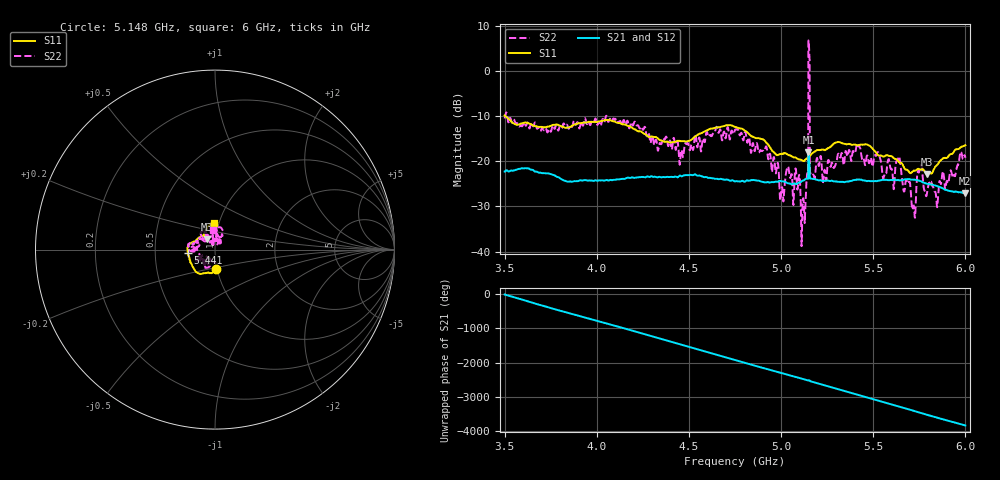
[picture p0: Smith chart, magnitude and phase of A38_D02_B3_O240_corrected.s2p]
! Created with skrf 1.9.0 (http://scikit-rf.org).
# Hz S RI R 50.0
!freq ReS11 ImS11 ReS21 ImS21 ReS12 ImS12 ReS22 ImS22
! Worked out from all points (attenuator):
!   1601 points, 3.5 GHz to 6 GHz, reference 50 ohm
!   highest |S21| = -18.04 dB at 5.148 GHz (marker M1); lowest = -27.1 dB at 5.998 GHz (marker M2)
!   lowest |S11| = -22.8 dB at 5.791 GHz (marker M3), VSWR 1.16, Z = 45.6 + j5.32 ohm
!   |S11| at or under -10 dB: 3.504 GHz to end of sweep
!   |S22| runs from -38.8 to 6.7 dB; largest |S21 - S12| = 0.001
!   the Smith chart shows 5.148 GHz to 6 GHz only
!   S11 on the Smith chart (normalised r, x): 5.148 GHz: 0.99, -0.22; 5.441 GHz: 0.74, -0.03; 6 GHz: 0.94, +0.29
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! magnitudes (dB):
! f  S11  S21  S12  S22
! 3.5 GHz  -9.9  -22.3  -22.3  -10.6
! 3.917 GHz  -11.6  -24.3  -24.3  -11.3
! 4.334 GHz  -15.1  -23.5  -23.5  -17.4
! 4.75 GHz  -12.4  -24.5  -24.4  -13.1
! 4.928 GHz  -16.3  -24.6  -24.6  -19.1
! 5.005 GHz  -18.4  -24.4  -24.5  -25.7
! 5.034 GHz  -18.5  -24.9  -24.8  -21.3
! 5.088 GHz  -19.4  -25.0  -24.9  -26.2
! 5.12 GHz  -20.0  -24.3  -24.2  -28.2
! 5.134 GHz  -19.5  -23.9  -23.8  -27.3
! 5.142 GHz  -19.3  -23.9  -23.8  -22.6
! 5.148 GHz  -19.2  -18.0  -18.0  6.7
! 5.161 GHz  -18.6  -23.9  -23.8  -22.7
! 5.167 GHz  -18.3  -23.9  -23.8  -23.2
! 5.441 GHz  -16.4  -24.2  -24.1  -19.6
! 5.584 GHz  -18.8  -24.2  -24.2  -19.5
! 5.638 GHz  -20.2  -24.2  -24.1  -19.0
! 5.719 GHz  -22.1  -24.1  -24.0  -29.8
! 5.752 GHz  -21.8  -24.4  -24.3  -21.9
! 5.791 GHz  -22.8  -25.0  -24.9  -27.3
! 5.998 GHz  -16.5  -27.1  -27.0  -18.9
! 6 GHz  -16.5  -27.1  -27.0  -19.3
